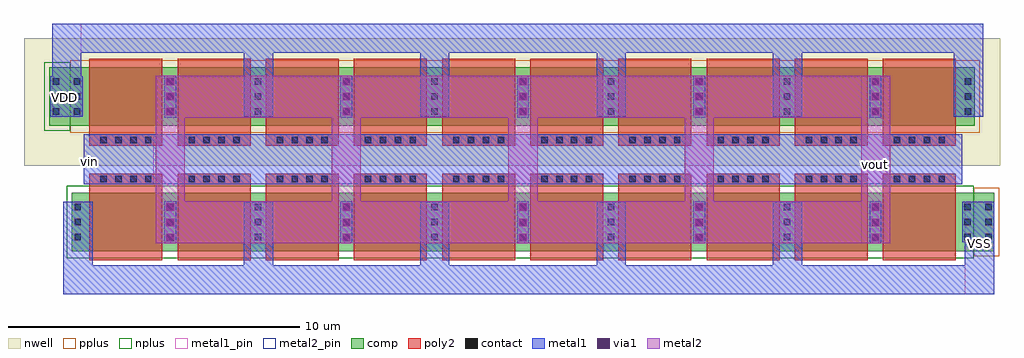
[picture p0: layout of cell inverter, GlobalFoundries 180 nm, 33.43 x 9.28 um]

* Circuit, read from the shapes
.subckt inverter VDD VSS vin vout
XM1 vout vin VSS VSS nfet_03v3 w=2u l=2.5u m=10
XM2 vout vin VDD VDD pfet_03v3 w=2u l=2.5u m=10
.ends

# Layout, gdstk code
from math import pi, radians
import gdstk
lib = gdstk.Library(unit=1e-6, precision=1e-09)
def R(c, l, rs):  # rectangles x0, y0, x1, y1
    for r in rs: c.add(gdstk.rectangle(r[:2], r[2:], *l))
def A(c, l, x, y, w, h, nx, ny, dx, dy):  # array of equal rectangles
    R(c, l, [(x+i*dx, y+j*dy, x+i*dx+w, y+j*dy+h) for i in range(nx) for j in range(ny)])
nwell = (21, 0)
comp = (22, 0)
poly2 = (30, 0)
pplus = (31, 0)
nplus = (32, 0)
contact = (33, 0)
metal1 = (34, 0)
metal1_pin = (34, 10)
via1 = (35, 0)
metal2 = (36, 0)
metal2_pin = (36, 10)

pfet = lib.new_cell('pfet')
R(pfet, nwell, [(-1.32,-0.99,32.11,3.37)])
R(pfet, comp, [(-0.46,0,31.25,2)])
A(pfet, poly2, 0.19, -0.3, 2.5, 2.98, 10, 1, 3.02, 0)
R(pfet, pplus, [(-0.63,-0.24,30.52,2.24)])
R(pfet, nplus, [(30.52,-0.17,31.42,2.17)])
A(pfet, contact, -0.34, 0.38, 0.22, 0.22, 1, 3, 0, 0.51)
A(pfet, contact, 2.84, 0.38, 0.22, 0.22, 9, 3, 3.02, 0.51)
A(pfet, contact, 30.18, 0.38, 0.22, 0.22, 1, 3, 0, 0.51)
A(pfet, contact, 30.91, 0.38, 0.22, 0.22, 1, 3, 0, 0.51)
A(pfet, contact, 0.565, 2.38, 0.22, 0.22, 4, 1, 0.51, 0)
A(pfet, contact, 3.585, 2.38, 0.22, 0.22, 4, 1, 0.51, 0)
A(pfet, contact, 6.605, 2.38, 0.22, 0.22, 4, 1, 0.51, 0)
A(pfet, contact, 9.625, 2.38, 0.22, 0.22, 4, 1, 0.51, 0)
A(pfet, contact, 12.645, 2.38, 0.22, 0.22, 4, 1, 0.51, 0)
A(pfet, contact, 15.665, 2.38, 0.22, 0.22, 4, 1, 0.51, 0)
A(pfet, contact, 18.685, 2.38, 0.22, 0.22, 4, 1, 0.51, 0)
A(pfet, contact, 21.705, 2.38, 0.22, 0.22, 4, 1, 0.51, 0)
A(pfet, contact, 24.725, 2.38, 0.22, 0.22, 4, 1, 0.51, 0)
A(pfet, contact, 27.745, 2.38, 0.22, 0.22, 4, 1, 0.51, 0)
A(pfet, metal1, 2.76, 0.3, 0.38, 1.4, 9, 1, 3.02, 0)
A(pfet, metal1, 0.485, 2.3, 1.91, 0.38, 10, 1, 3.02, 0)
R(pfet, metal1, [(-0.42,0.3,-0.04,1.7), (30.1,0.3,30.48,1.7), (30.83,0.3,31.21,1.7)])

via_dev = lib.new_cell('via_dev')
R(via_dev, metal1, [(0,0,0.4,0.4)])
R(via_dev, via1, [(0.07,0.07,0.33,0.33)])
R(via_dev, metal2, [(0,0,0.4,0.4)])

nfet = lib.new_cell('nfet')
R(nfet, comp, [(-0.42,0,31.19,2)])
A(nfet, poly2, 0.19, -0.3, 2.5, 2.96, 10, 1, 3.02, 0)
R(nfet, pplus, [(30.48,-0.17,31.36,2.17)])
R(nfet, nplus, [(-0.59,-0.24,30.48,2.24)])
A(nfet, contact, -0.32, 0.38, 0.22, 0.22, 1, 3, 0, 0.51)
A(nfet, contact, 2.84, 0.38, 0.22, 0.22, 9, 3, 3.02, 0.51)
A(nfet, contact, 30.16, 0.38, 0.22, 0.22, 1, 3, 0, 0.51)
A(nfet, contact, 30.87, 0.38, 0.22, 0.22, 1, 3, 0, 0.51)
A(nfet, contact, 0.565, 2.37, 0.22, 0.22, 4, 1, 0.51, 0)
A(nfet, contact, 3.585, 2.37, 0.22, 0.22, 4, 1, 0.51, 0)
A(nfet, contact, 6.605, 2.37, 0.22, 0.22, 4, 1, 0.51, 0)
A(nfet, contact, 9.625, 2.37, 0.22, 0.22, 4, 1, 0.51, 0)
A(nfet, contact, 12.645, 2.37, 0.22, 0.22, 4, 1, 0.51, 0)
A(nfet, contact, 15.665, 2.37, 0.22, 0.22, 4, 1, 0.51, 0)
A(nfet, contact, 18.685, 2.37, 0.22, 0.22, 4, 1, 0.51, 0)
A(nfet, contact, 21.705, 2.37, 0.22, 0.22, 4, 1, 0.51, 0)
A(nfet, contact, 24.725, 2.37, 0.22, 0.22, 4, 1, 0.51, 0)
A(nfet, contact, 27.745, 2.37, 0.22, 0.22, 4, 1, 0.51, 0)
A(nfet, metal1, 2.76, 0.3, 0.38, 1.4, 9, 1, 3.02, 0)
A(nfet, metal1, 0.485, 2.29, 1.91, 0.38, 10, 1, 3.02, 0)
R(nfet, metal1, [(-0.4,0.3,-0.02,1.7), (30.08,0.3,30.46,1.7), (30.79,0.3,31.17,1.7)])

inverter = lib.new_cell('inverter')
A(inverter, metal1, 14.7, -5.21, 0.4, 1.44, 3, 2, 6.04, 4.31)
R(inverter, metal1, [(2.62,-5.21,3.02,-3.77), (8.65,-5.21,9.05,-3.77), (29.94,-5.18,31.04,-3.78), (-0.15,-3.18,29.94,-1.48), (2.62,-0.9,3.02,0.54), (8.65,-0.9,9.05,0.54), (-1.28,-0.88,-0.18,0.52)])
R(inverter, metal1_pin, [(30.04,-6.96,31.04,-3.78), (-0.15,-3.18,2.26,-1.48), (-1.23,-0.88,-0.23,2.32)])
R(inverter, metal2, [(2.62,-5.21,27.18,-3.77), (2.62,-0.9,27.18,0.54)])
R(inverter, metal2_pin, [(26.48,-5.21,27.48,0.54)])
inverter.add(gdstk.FlexPath([(-0.34,-3.78),(-0.34,-6.46)], 1, ends="flush", simple_path=True, layer=34, datatype=0))  # metal1
inverter.add(gdstk.FlexPath([(23.96,-3.78),(23.96,-6.46)], 1, ends="flush", simple_path=True, layer=34, datatype=0))  # metal1
inverter.add(gdstk.FlexPath([(17.92,-3.78),(17.92,-6.46)], 1, ends="flush", simple_path=True, layer=34, datatype=0))  # metal1
inverter.add(gdstk.FlexPath([(11.88,-3.78),(11.88,-6.46)], 1, ends="flush", simple_path=True, layer=34, datatype=0))  # metal1
inverter.add(gdstk.FlexPath([(5.84,-3.78),(5.84,-6.46)], 1, ends="flush", simple_path=True, layer=34, datatype=0))  # metal1
inverter.add(gdstk.FlexPath([(30.54,-3.78),(30.54,-6.46),(-0.34,-6.46),(-0.34,-3.78)], 1, ends="flush", simple_path=True, layer=34, datatype=0))  # metal1
inverter.add(gdstk.FlexPath([(-0.73,-0.88),(-0.73,1.82),(30.16,1.82),(30.16,-0.88)], 1, ends="flush", simple_path=True, layer=34, datatype=0))  # metal1
inverter.add(gdstk.FlexPath([(23.96,-0.88),(23.96,1.82)], 1, ends="flush", simple_path=True, layer=34, datatype=0))  # metal1
inverter.add(gdstk.FlexPath([(17.92,-0.88),(17.92,1.82)], 1, ends="flush", simple_path=True, layer=34, datatype=0))  # metal1
inverter.add(gdstk.FlexPath([(11.88,-0.88),(11.88,1.82)], 1, ends="flush", simple_path=True, layer=34, datatype=0))  # metal1
inverter.add(gdstk.FlexPath([(5.84,-0.88),(5.84,1.82)], 1, ends="flush", simple_path=True, layer=34, datatype=0))  # metal1
inverter.add(gdstk.FlexPath([(2.82,0.54),(2.82,-5.21)], 1, ends="flush", simple_path=True, layer=36, datatype=0))  # metal2
inverter.add(gdstk.FlexPath([(8.85,0.54),(8.85,-5.21)], 1, ends="flush", simple_path=True, layer=36, datatype=0))  # metal2
inverter.add(gdstk.FlexPath([(14.9,0.54),(14.9,-5.21)], 1, ends="flush", simple_path=True, layer=36, datatype=0))  # metal2
inverter.add(gdstk.FlexPath([(20.94,0.54),(20.94,-5.21)], 1, ends="flush", simple_path=True, layer=36, datatype=0))  # metal2
inverter.add(gdstk.FlexPath([(26.98,0.54),(26.98,-5.21)], 1, ends="flush", simple_path=True, layer=36, datatype=0))  # metal2
inverter.add(gdstk.Reference(pfet, (29.92,0.82), rotation=pi))
r = gdstk.Reference(via_dev, (8.65,-0.9)); r.repetition = gdstk.Repetition(1, 3, v1=(0,0), v2=(0,0.52)); inverter.add(r)
r = gdstk.Reference(via_dev, (14.7,-0.9)); r.repetition = gdstk.Repetition(1, 3, v1=(0,0), v2=(0,0.52)); inverter.add(r)
r = gdstk.Reference(via_dev, (20.74,-0.9)); r.repetition = gdstk.Repetition(1, 3, v1=(0,0), v2=(0,0.52)); inverter.add(r)
r = gdstk.Reference(via_dev, (26.78,-0.9)); r.repetition = gdstk.Repetition(1, 3, v1=(0,0), v2=(0,0.52)); inverter.add(r)
r = gdstk.Reference(via_dev, (2.62,-0.9)); r.repetition = gdstk.Repetition(1, 3, v1=(0,0), v2=(0,0.52)); inverter.add(r)
r = gdstk.Reference(nfet, (-0.14,-5.48)); r.repetition = gdstk.Repetition(1, 1, v1=(0,0), v2=(0,0)); inverter.add(r)
r = gdstk.Reference(via_dev, (2.62,-5.21)); r.repetition = gdstk.Repetition(1, 3, v1=(0,0), v2=(0,0.52)); inverter.add(r)
r = gdstk.Reference(via_dev, (26.78,-5.21)); r.repetition = gdstk.Repetition(1, 3, v1=(0,0), v2=(0,0.52)); inverter.add(r)
r = gdstk.Reference(via_dev, (20.74,-5.21)); r.repetition = gdstk.Repetition(1, 3, v1=(0,0), v2=(0,0.52)); inverter.add(r)
r = gdstk.Reference(via_dev, (14.7,-5.21)); r.repetition = gdstk.Repetition(1, 3, v1=(0,0), v2=(0,0.52)); inverter.add(r)
r = gdstk.Reference(via_dev, (8.65,-5.21)); r.repetition = gdstk.Repetition(1, 3, v1=(0,0), v2=(0,0.52)); inverter.add(r)
inverter.add(gdstk.Label('VDD', (-0.8,-0.2), layer=34, texttype=0))
inverter.add(gdstk.Label('vin', (0.05,-2.42), layer=34, texttype=0))
inverter.add(gdstk.Label('VSS', (30.54,-5.23), layer=34, texttype=0))
inverter.add(gdstk.Label('vout', (26.98,-2.52), layer=36, texttype=0))

lib.write_gds('inverter.gds')
